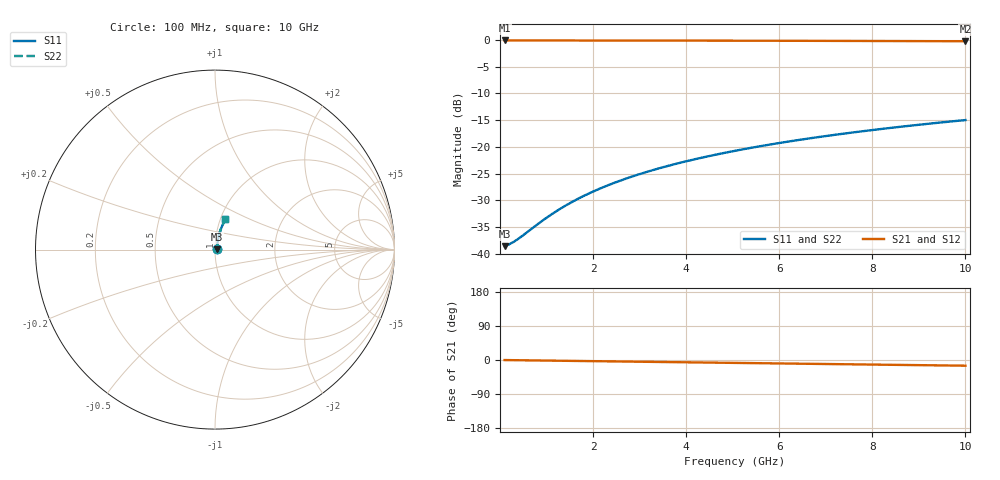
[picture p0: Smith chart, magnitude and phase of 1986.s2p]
# Hz S RI R 50.00
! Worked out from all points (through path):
!   100 points, 100 MHz to 10 GHz, reference 50 ohm
!   highest |S21| = -0.10 dB at 100 MHz (marker M1); lowest = -0.3 dB at 10 GHz (marker M2)
!   group delay of S21, straight-line fit = 4.18 ps
!   lowest |S11| = -38.6 dB at 100 MHz (marker M3), VSWR 1.02, Z = 51.2 + j0.183 ohm
!   |S11| at or under -10 dB: start of sweep to end of sweep
!   |S22| runs from -38.6 to -15.0 dB; largest |S21 - S12| = 0
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1e8  0.0117 0.00178  0.9883 -0.00262  0.9883 -0.00262  0.0117 0.00178
2e8  0.0118 0.00357  0.9882 -0.00523  0.9882 -0.00523  0.0118 0.00357
3e8  0.0118 0.00535  0.9881 -0.00785  0.9881 -0.00785  0.0118 0.00535
4e8  0.0119 0.00713  0.9881 -0.0105  0.9881 -0.0105  0.0119 0.00713
9e8  0.0124 0.016  0.9876 -0.0235  0.9876 -0.0235  0.0124 0.016
1.2e9  0.0128 0.0214  0.9872 -0.0314  0.9872 -0.0314  0.0128 0.0214
1.5e9  0.0132 0.0267  0.9867 -0.0392  0.9867 -0.0392  0.0132 0.0267
1.8e9  0.0137 0.032  0.9862 -0.047  0.9862 -0.047  0.0137 0.032
2.1e9  0.0143 0.0373  0.9855 -0.0548  0.9855 -0.0548  0.0143 0.0373
2.5e9  0.0152 0.0444  0.9845 -0.0652  0.9845 -0.0652  0.0152 0.0444
2.9e9  0.0163 0.0514  0.9834 -0.0756  0.9834 -0.0756  0.0163 0.0514
3.4e9  0.0178 0.0602  0.9818 -0.0885  0.9818 -0.0885  0.0178 0.0602
3.8e9  0.0192 0.0671  0.9803 -0.0988  0.9803 -0.0988  0.0192 0.0671
4.2e9  0.0207 0.074  0.9786 -0.1091  0.9786 -0.1091  0.0207 0.074
4.6e9  0.0224 0.0809  0.9768 -0.1193  0.9768 -0.1193  0.0224 0.0809
5.1e9  0.0247 0.0895  0.9744 -0.1321  0.9744 -0.1321  0.0247 0.0895
5.9e9  0.0288 0.103  0.9699 -0.1523  0.9699 -0.1523  0.0288 0.103
6.7e9  0.0335 0.1163  0.9649 -0.1723  0.9649 -0.1723  0.0335 0.1163
7.5e9  0.0387 0.1294  0.9593 -0.1921  0.9593 -0.1921  0.0387 0.1294
8.4e9  0.0452 0.1437  0.9523 -0.214  0.9523 -0.214  0.0452 0.1437
9.2e9  0.0515 0.1562  0.9454 -0.2332  0.9454 -0.2332  0.0515 0.1562
1e10  0.0583 0.1684  0.9381 -0.2521  0.9381 -0.2521  0.0583 0.1684
